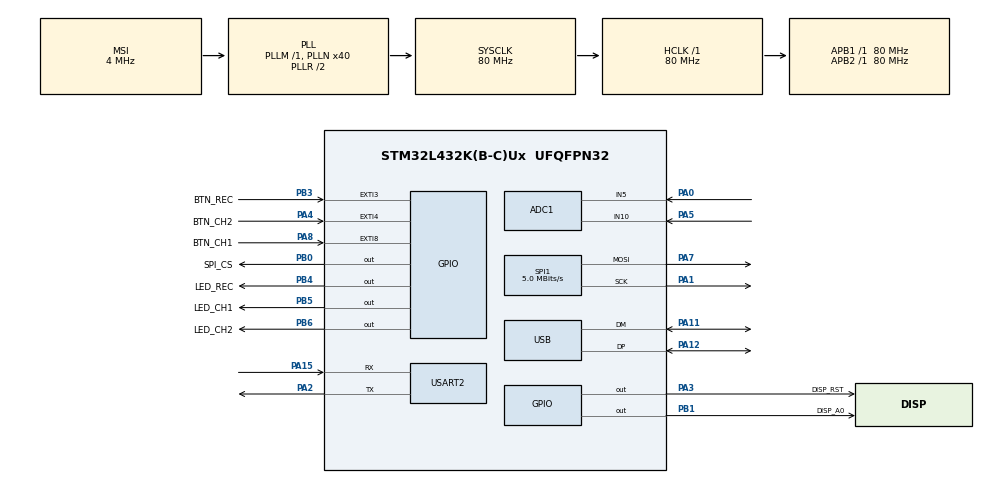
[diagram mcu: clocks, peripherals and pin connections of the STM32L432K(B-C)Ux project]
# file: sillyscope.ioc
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ADC1.Channel-0\#ChannelRegularConversion=ADC_CHANNEL_5
ADC1.Channel-1\#ChannelRegularConversion=ADC_CHANNEL_10
ADC1.ClockPrescaler=ADC_CLOCK_ASYNC_DIV1
ADC1.ContinuousConvMode=ENABLE
ADC1.DMAContinuousRequests=ENABLE
ADC1.NbrOfConversion=2
ADC1.NbrOfConversionFlag=1
ADC1.OffsetNumber-0\#ChannelRegularConversion=ADC_OFFSET_NONE
ADC1.OffsetNumber-1\#ChannelRegularConversion=ADC_OFFSET_NONE
ADC1.Overrun=ADC_OVR_DATA_OVERWRITTEN
ADC1.Rank-0\#ChannelRegularConversion=1
ADC1.Rank-1\#ChannelRegularConversion=2
ADC1.SamplingTime-0\#ChannelRegularConversion=ADC_SAMPLETIME_2CYCLES_5
ADC1.SamplingTime-1\#ChannelRegularConversion=ADC_SAMPLETIME_2CYCLES_5
ADC1.master=1
Dma.ADC1.0.Direction=DMA_PERIPH_TO_MEMORY
Dma.ADC1.0.Instance=DMA1_Channel1
Dma.ADC1.0.MemDataAlignment=DMA_MDATAALIGN_HALFWORD
Dma.ADC1.0.MemInc=DMA_MINC_ENABLE
Dma.ADC1.0.Mode=DMA_CIRCULAR
Dma.ADC1.0.PeriphDataAlignment=DMA_PDATAALIGN_HALFWORD
Dma.ADC1.0.PeriphInc=DMA_PINC_DISABLE
Dma.ADC1.0.Priority=DMA_PRIORITY_LOW
Dma.Request0=ADC1
Mcu.Family=STM32L4
Mcu.Name=STM32L432K(B-C)Ux
Mcu.Package=UFQFPN32
NVIC.EXTI3_IRQn=true\:1\:0\:true\:false\:true\:true\:true\:true
NVIC.EXTI4_IRQn=true\:1\:0\:true\:false\:true\:true\:true\:true
NVIC.EXTI9_5_IRQn=true\:1\:0\:true\:false\:true\:true\:true\:true
NVIC.PriorityGroup=NVIC_PRIORITYGROUP_4
NVIC.TIM1_UP_TIM16_IRQn=true\:3\:0\:true\:false\:true\:true\:true\:true
NVIC.TIM2_IRQn=true\:15\:0\:true\:false\:true\:true\:true\:true
NVIC.TimeBase=TIM2_IRQn
NVIC.TimeBaseIP=TIM2
NVIC.USART2_IRQn=true\:2\:0\:true\:false\:true\:true\:true\:true
NVIC.USB_IRQn=true\:2\:0\:true\:false\:true\:false\:true\:true
PA0.Signal=ADCx_IN5
PA1.Mode=TX_Only_Simplex_Unidirect_Master
PA1.Signal=SPI1_SCK
PA11.Mode=Device
PA11.Signal=USB_DM
PA12.Mode=Device
PA12.Signal=USB_DP
PA13\ (JTMS-SWDIO).Mode=Serial_Wire
PA13\ (JTMS-SWDIO).Signal=SYS_JTMS-SWDIO
PA14\ (JTCK-SWCLK).Mode=Serial_Wire
PA14\ (JTCK-SWCLK).Signal=SYS_JTCK-SWCLK
PA15\ (JTDI).Mode=Asynchronous
PA15\ (JTDI).Signal=USART2_RX
PA2.Mode=Asynchronous
PA2.Signal=USART2_TX
PA3.GPIO_Label=DISP_RST
PA3.GPIO_PuPd=GPIO_PULLUP
PA3.PinState=GPIO_PIN_RESET
PA3.Signal=GPIO_Output
PA4.GPIO_Label=BTN_CH2
PA4.GPIO_ModeDefaultEXTI=GPIO_MODE_IT_FALLING
PA4.Signal=GPXTI4
PA5.Signal=ADCx_IN10
PA7.Mode=TX_Only_Simplex_Unidirect_Master
PA7.Signal=SPI1_MOSI
PA8.GPIO_Label=BTN_CH1
PA8.GPIO_ModeDefaultEXTI=GPIO_MODE_IT_FALLING
PA8.Signal=GPXTI8
PB0.GPIO_Label=SPI_CS
PB0.GPIO_PuPd=GPIO_PULLUP
PB0.Signal=GPIO_Output
PB1.GPIO_Label=DISP_A0
PB1.GPIO_PuPd=GPIO_PULLUP
PB1.Signal=GPIO_Output
PB3\ (JTDO-TRACESWO).GPIO_Label=BTN_REC
PB3\ (JTDO-TRACESWO).GPIO_ModeDefaultEXTI=GPIO_MODE_IT_FALLING
PB3\ (JTDO-TRACESWO).Signal=GPXTI3
PB4\ (NJTRST).GPIO_Label=LED_REC
PB4\ (NJTRST).GPIO_PuPd=GPIO_PULLDOWN
PB4\ (NJTRST).Signal=GPIO_Output
PB5.GPIO_Label=LED_CH1
PB5.GPIO_PuPd=GPIO_PULLDOWN
PB5.Signal=GPIO_Output
PB6.GPIO_FM6=__NULL
PB6.GPIO_Label=LED_CH2
PB6.GPIO_PuPd=GPIO_PULLDOWN
PB6.Signal=GPIO_Output
ProjectManager.HeapSize=0x200
ProjectManager.StackSize=0x400
ProjectManager.TargetToolchain=Makefile
RCC.ADCFreq_Value=48000000
RCC.AHBFreq_Value=80000000
RCC.APB1Freq_Value=80000000
RCC.APB1TimFreq_Value=80000000
RCC.APB2Freq_Value=80000000
RCC.APB2TimFreq_Value=80000000
RCC.CortexFreq_Value=80000000
RCC.HCLKFreq_Value=80000000
RCC.HSE_VALUE=8000000
RCC.HSI48_VALUE=48000000
RCC.HSI_VALUE=16000000
RCC.LSE_VALUE=32768
RCC.MSI_VALUE=4000000
RCC.PLLN=40
RCC.PLLSAI1N=24
RCC.SYSCLKFreq_VALUE=80000000
RCC.SYSCLKSource=RCC_SYSCLKSOURCE_PLLCLK
RCC.USBFreq_Value=48000000
RCC.VCOOutputFreq_Value=160000000
SH.ADCx_IN10.0=ADC1_IN10,IN10-Single-Ended
SH.ADCx_IN5.0=ADC1_IN5,IN5-Single-Ended
SPI1.BaudRatePrescaler=SPI_BAUDRATEPRESCALER_16
SPI1.CLKPhase=SPI_PHASE_1EDGE
SPI1.CLKPolarity=SPI_POLARITY_LOW
SPI1.CalculateBaudRate=5.0 MBits/s
SPI1.DataSize=SPI_DATASIZE_8BIT
SPI1.Direction=SPI_DIRECTION_2LINES
SPI1.FirstBit=SPI_FIRSTBIT_MSB
SPI1.Mode=SPI_MODE_MASTER
SPI1.VirtualType=VM_MASTER
TIM16.AutoReloadPreload=TIM_AUTORELOAD_PRELOAD_DISABLE
TIM16.Channel=TIM_CHANNEL_1
TIM16.OCMode_1=TIM_OCMODE_TOGGLE
TIM16.Period=9599
USART2.VirtualMode-Asynchronous=VM_ASYNC
USB_DEVICE.CLASS_NAME_FS=CDC
USB_DEVICE.MANUFACTURER_STRING=hoff.industries
USB_DEVICE.PRODUCT_STRING_CDC_FS=hoff.industries smallScope
USB_DEVICE.VirtualMode=Cdc
USB_DEVICE.VirtualModeFS=Cdc_FS
VP_CRC_VS_CRC.Mode=CRC_Activate
VP_SYS_VS_tim2.Mode=TIM2
VP_TIM16_VS_ClockSourceINT.Mode=Enable_Timer
VP_TIM16_VS_no_output1.Mode=Output Compare1 No Output
VP_USB_DEVICE_VS_USB_DEVICE_CDC_FS.Mode=CDC_FS
board=custom

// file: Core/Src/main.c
/* USER CODE BEGIN Header */
/**
  ******************************************************************************
  * @file           : main.c
  * @brief          : Main program body
  ******************************************************************************
  * @attention
  *
  * Copyright (c) 2025 STMicroelectronics.
  * All rights reserved.
  *
  * This software is licensed under terms that can be found in the LICENSE file
  * in the root directory of this software component.
  * If no LICENSE file comes with this software, it is provided AS-IS.
  *
  ******************************************************************************
  */
/* USER CODE END Header */
#include "main.h"
#include "usb_device.h"

/* USER CODE BEGIN Includes */
#include <stdint.h>
#include <stdbool.h>

#include "sillyscope_app.h"

#include "channel_mgmt.h"
#include "channel_data.h"
/* USER CODE END Includes */

ADC_HandleTypeDef hadc1;
DMA_HandleTypeDef hdma_adc1;

CRC_HandleTypeDef hcrc;

SPI_HandleTypeDef hspi1;

TIM_HandleTypeDef htim16;

UART_HandleTypeDef huart2;

void SystemClock_Config(void);
void PeriphCommonClock_Config(void);
static void MX_GPIO_Init(void);
static void MX_DMA_Init(void);
static void MX_ADC1_Init(void);
static void MX_SPI1_Init(void);
static void MX_CRC_Init(void);
static void MX_USART2_UART_Init(void);
static void MX_TIM16_Init(void);

int main(void)
{

  /* USER CODE BEGIN 1 */

  ch_data_adc = &hadc1;
  ch_data_crc = &hcrc;
  ch_data_uart = &huart2;
  disp_spi = &hspi1;

  /* USER CODE END 1 */

  /* MCU Configuration--------------------------------------------------------*/

  /* Reset of all peripherals, Initializes the Flash interface and the Systick. */
  HAL_Init();

  /* Configure the system clock */
  SystemClock_Config();

  /* Configure the peripherals common clocks */
  PeriphCommonClock_Config();

  /* Initialize all configured peripherals */
  MX_GPIO_Init();
  MX_DMA_Init();
  MX_ADC1_Init();
  MX_SPI1_Init();
  MX_CRC_Init();
  MX_USART2_UART_Init();
  MX_USB_DEVICE_Init();
  MX_TIM16_Init();

  /* Infinite loop */
  /* USER CODE BEGIN WHILE */

  sillyscope_app();
  // NOTE: never reached

  while (1)
  {
    /* USER CODE END WHILE */

  }
}

void SystemClock_Config(void)
{
  RCC_OscInitTypeDef RCC_OscInitStruct = {0};
  RCC_ClkInitTypeDef RCC_ClkInitStruct = {0};

  /** Configure the main internal regulator output voltage
  */
  if (HAL_PWREx_ControlVoltageScaling(PWR_REGULATOR_VOLTAGE_SCALE1) != HAL_OK)
  {
    Error_Handler();
  }

  /** Initializes the RCC Oscillators according to the specified parameters
  * in the RCC_OscInitTypeDef structure.
  */
  RCC_OscInitStruct.OscillatorType = RCC_OSCILLATORTYPE_MSI;
  RCC_OscInitStruct.MSIState = RCC_MSI_ON;
  RCC_OscInitStruct.MSICalibrationValue = 0;
  RCC_OscInitStruct.MSIClockRange = RCC_MSIRANGE_6;
  RCC_OscInitStruct.PLL.PLLState = RCC_PLL_ON;
  RCC_OscInitStruct.PLL.PLLSource = RCC_PLLSOURCE_MSI;
  RCC_OscInitStruct.PLL.PLLM = 1;
  RCC_OscInitStruct.PLL.PLLN = 40;
  RCC_OscInitStruct.PLL.PLLP = RCC_PLLP_DIV7;
  RCC_OscInitStruct.PLL.PLLQ = RCC_PLLQ_DIV2;
  RCC_OscInitStruct.PLL.PLLR = RCC_PLLR_DIV2;
  if (HAL_RCC_OscConfig(&RCC_OscInitStruct) != HAL_OK)
  {
    Error_Handler();
  }

  /** Initializes the CPU, AHB and APB buses clocks
  */
  RCC_ClkInitStruct.ClockType = RCC_CLOCKTYPE_HCLK|RCC_CLOCKTYPE_SYSCLK
                              |RCC_CLOCKTYPE_PCLK1|RCC_CLOCKTYPE_PCLK2;
  RCC_ClkInitStruct.SYSCLKSource = RCC_SYSCLKSOURCE_PLLCLK;
  RCC_ClkInitStruct.AHBCLKDivider = RCC_SYSCLK_DIV1;
  RCC_ClkInitStruct.APB1CLKDivider = RCC_HCLK_DIV1;
  RCC_ClkInitStruct.APB2CLKDivider = RCC_HCLK_DIV1;

  if (HAL_RCC_ClockConfig(&RCC_ClkInitStruct, FLASH_LATENCY_4) != HAL_OK)
  {
    Error_Handler();
  }
}

void PeriphCommonClock_Config(void)
{
  RCC_PeriphCLKInitTypeDef PeriphClkInit = {0};

  /** Initializes the peripherals clock
  */
  PeriphClkInit.PeriphClockSelection = RCC_PERIPHCLK_USB|RCC_PERIPHCLK_ADC;
  PeriphClkInit.AdcClockSelection = RCC_ADCCLKSOURCE_PLLSAI1;
  PeriphClkInit.UsbClockSelection = RCC_USBCLKSOURCE_PLLSAI1;
  PeriphClkInit.PLLSAI1.PLLSAI1Source = RCC_PLLSOURCE_MSI;
  PeriphClkInit.PLLSAI1.PLLSAI1M = 1;
  PeriphClkInit.PLLSAI1.PLLSAI1N = 24;
  PeriphClkInit.PLLSAI1.PLLSAI1P = RCC_PLLP_DIV7;
  PeriphClkInit.PLLSAI1.PLLSAI1Q = RCC_PLLQ_DIV2;
  PeriphClkInit.PLLSAI1.PLLSAI1R = RCC_PLLR_DIV2;
  PeriphClkInit.PLLSAI1.PLLSAI1ClockOut = RCC_PLLSAI1_48M2CLK|RCC_PLLSAI1_ADC1CLK;
  if (HAL_RCCEx_PeriphCLKConfig(&PeriphClkInit) != HAL_OK)
  {
    Error_Handler();
  }
}

static void MX_ADC1_Init(void)
{

  ADC_ChannelConfTypeDef sConfig = {0};

  /** Common config
  */
  hadc1.Instance = ADC1;
  hadc1.Init.ClockPrescaler = ADC_CLOCK_ASYNC_DIV1;
  hadc1.Init.Resolution = ADC_RESOLUTION_12B;
  hadc1.Init.DataAlign = ADC_DATAALIGN_RIGHT;
  hadc1.Init.ScanConvMode = ADC_SCAN_ENABLE;
  hadc1.Init.EOCSelection = ADC_EOC_SINGLE_CONV;
  hadc1.Init.LowPowerAutoWait = DISABLE;
  hadc1.Init.ContinuousConvMode = ENABLE;
  hadc1.Init.NbrOfConversion = 2;
  hadc1.Init.DiscontinuousConvMode = DISABLE;
  hadc1.Init.ExternalTrigConv = ADC_SOFTWARE_START;
  hadc1.Init.ExternalTrigConvEdge = ADC_EXTERNALTRIGCONVEDGE_NONE;
  hadc1.Init.DMAContinuousRequests = ENABLE;
  hadc1.Init.Overrun = ADC_OVR_DATA_OVERWRITTEN;
  hadc1.Init.OversamplingMode = DISABLE;
  if (HAL_ADC_Init(&hadc1) != HAL_OK)
  {
    Error_Handler();
  }

  /** Configure Regular Channel
  */
  sConfig.Channel = ADC_CHANNEL_5;
  sConfig.Rank = ADC_REGULAR_RANK_1;
  sConfig.SamplingTime = ADC_SAMPLETIME_2CYCLES_5;
  sConfig.SingleDiff = ADC_SINGLE_ENDED;
  sConfig.OffsetNumber = ADC_OFFSET_NONE;
  sConfig.Offset = 0;
  if (HAL_ADC_ConfigChannel(&hadc1, &sConfig) != HAL_OK)
  {
    Error_Handler();
  }

  /** Configure Regular Channel
  */
  sConfig.Channel = ADC_CHANNEL_10;
  sConfig.Rank = ADC_REGULAR_RANK_2;
  if (HAL_ADC_ConfigChannel(&hadc1, &sConfig) != HAL_OK)
  {
    Error_Handler();
  }

}

static void MX_CRC_Init(void)
{

  hcrc.Instance = CRC;
  hcrc.Init.DefaultPolynomialUse = DEFAULT_POLYNOMIAL_ENABLE;
  hcrc.Init.DefaultInitValueUse = DEFAULT_INIT_VALUE_ENABLE;
  hcrc.Init.InputDataInversionMode = CRC_INPUTDATA_INVERSION_NONE;
  hcrc.Init.OutputDataInversionMode = CRC_OUTPUTDATA_INVERSION_DISABLE;
  hcrc.InputDataFormat = CRC_INPUTDATA_FORMAT_BYTES;
  if (HAL_CRC_Init(&hcrc) != HAL_OK)
  {
    Error_Handler();
  }

}

static void MX_SPI1_Init(void)
{

  /* SPI1 parameter configuration*/
  hspi1.Instance = SPI1;
  hspi1.Init.Mode = SPI_MODE_MASTER;
  hspi1.Init.Direction = SPI_DIRECTION_2LINES;
  hspi1.Init.DataSize = SPI_DATASIZE_8BIT;
  hspi1.Init.CLKPolarity = SPI_POLARITY_LOW;
  hspi1.Init.CLKPhase = SPI_PHASE_1EDGE;
  hspi1.Init.NSS = SPI_NSS_SOFT;
  hspi1.Init.BaudRatePrescaler = SPI_BAUDRATEPRESCALER_16;
  hspi1.Init.FirstBit = SPI_FIRSTBIT_MSB;
  hspi1.Init.TIMode = SPI_TIMODE_DISABLE;
  hspi1.Init.CRCCalculation = SPI_CRCCALCULATION_DISABLE;
  hspi1.Init.CRCPolynomial = 7;
  hspi1.Init.CRCLength = SPI_CRC_LENGTH_DATASIZE;
  hspi1.Init.NSSPMode = SPI_NSS_PULSE_ENABLE;
  if (HAL_SPI_Init(&hspi1) != HAL_OK)
  {
    Error_Handler();
  }

}

static void MX_TIM16_Init(void)
{

  TIM_OC_InitTypeDef sConfigOC = {0};
  TIM_BreakDeadTimeConfigTypeDef sBreakDeadTimeConfig = {0};

  htim16.Instance = TIM16;
  htim16.Init.Prescaler = 0;
  htim16.Init.CounterMode = TIM_COUNTERMODE_UP;
  htim16.Init.Period = 9599;
  htim16.Init.ClockDivision = TIM_CLOCKDIVISION_DIV1;
  htim16.Init.RepetitionCounter = 0;
  htim16.Init.AutoReloadPreload = TIM_AUTORELOAD_PRELOAD_DISABLE;
  if (HAL_TIM_Base_Init(&htim16) != HAL_OK)
  {
    Error_Handler();
  }
  if (HAL_TIM_OC_Init(&htim16) != HAL_OK)
  {
    Error_Handler();
  }
  sConfigOC.OCMode = TIM_OCMODE_TOGGLE;
  sConfigOC.Pulse = 0;
  sConfigOC.OCPolarity = TIM_OCPOLARITY_HIGH;
  sConfigOC.OCNPolarity = TIM_OCNPOLARITY_HIGH;
  sConfigOC.OCFastMode = TIM_OCFAST_DISABLE;
  sConfigOC.OCIdleState = TIM_OCIDLESTATE_RESET;
  sConfigOC.OCNIdleState = TIM_OCNIDLESTATE_RESET;
  if (HAL_TIM_OC_ConfigChannel(&htim16, &sConfigOC, TIM_CHANNEL_1) != HAL_OK)
  {
    Error_Handler();
  }
  sBreakDeadTimeConfig.OffStateRunMode = TIM_OSSR_DISABLE;
  sBreakDeadTimeConfig.OffStateIDLEMode = TIM_OSSI_DISABLE;
  sBreakDeadTimeConfig.LockLevel = TIM_LOCKLEVEL_OFF;
  sBreakDeadTimeConfig.DeadTime = 0;
  sBreakDeadTimeConfig.BreakState = TIM_BREAK_DISABLE;
  sBreakDeadTimeConfig.BreakPolarity = TIM_BREAKPOLARITY_HIGH;
  sBreakDeadTimeConfig.AutomaticOutput = TIM_AUTOMATICOUTPUT_DISABLE;
  if (HAL_TIMEx_ConfigBreakDeadTime(&htim16, &sBreakDeadTimeConfig) != HAL_OK)
  {
    Error_Handler();
  }
  /* USER CODE BEGIN TIM16_Init 2 */

  HAL_TIM_Base_Start_IT(&htim16);

  /* USER CODE END TIM16_Init 2 */

}

static void MX_USART2_UART_Init(void)
{

  huart2.Instance = USART2;
  huart2.Init.BaudRate = 115200;
  huart2.Init.WordLength = UART_WORDLENGTH_8B;
  huart2.Init.StopBits = UART_STOPBITS_1;
  huart2.Init.Parity = UART_PARITY_NONE;
  huart2.Init.Mode = UART_MODE_TX_RX;
  huart2.Init.HwFlowCtl = UART_HWCONTROL_NONE;
  huart2.Init.OverSampling = UART_OVERSAMPLING_16;
  huart2.Init.OneBitSampling = UART_ONE_BIT_SAMPLE_DISABLE;
  huart2.AdvancedInit.AdvFeatureInit = UART_ADVFEATURE_NO_INIT;
  if (HAL_UART_Init(&huart2) != HAL_OK)
  {
    Error_Handler();
  }

}

static void MX_DMA_Init(void)
{

  /* DMA controller clock enable */
  __HAL_RCC_DMA1_CLK_ENABLE();

}

static void MX_GPIO_Init(void)
{
  GPIO_InitTypeDef GPIO_InitStruct = {0};

  /* GPIO Ports Clock Enable */
  __HAL_RCC_GPIOA_CLK_ENABLE();
  __HAL_RCC_GPIOB_CLK_ENABLE();

  /*Configure GPIO pin Output Level */
  HAL_GPIO_WritePin(DISP_RST_GPIO_Port, DISP_RST_Pin, GPIO_PIN_RESET);

  /*Configure GPIO pin Output Level */
  HAL_GPIO_WritePin(GPIOB, SPI_CS_Pin|DISP_A0_Pin|LED_REC_Pin|LED_CH1_Pin
                          |LED_CH2_Pin, GPIO_PIN_RESET);

  /*Configure GPIO pin : DISP_RST_Pin */
  GPIO_InitStruct.Pin = DISP_RST_Pin;
  GPIO_InitStruct.Mode = GPIO_MODE_OUTPUT_PP;
  GPIO_InitStruct.Pull = GPIO_PULLUP;
  GPIO_InitStruct.Speed = GPIO_SPEED_FREQ_LOW;
  HAL_GPIO_Init(DISP_RST_GPIO_Port, &GPIO_InitStruct);

  /*Configure GPIO pins : BTN_CH2_Pin BTN_CH1_Pin */
  GPIO_InitStruct.Pin = BTN_CH2_Pin|BTN_CH1_Pin;
  GPIO_InitStruct.Mode = GPIO_MODE_IT_FALLING;
  GPIO_InitStruct.Pull = GPIO_NOPULL;
  HAL_GPIO_Init(GPIOA, &GPIO_InitStruct);

  /*Configure GPIO pins : SPI_CS_Pin DISP_A0_Pin */
  GPIO_InitStruct.Pin = SPI_CS_Pin|DISP_A0_Pin;
  GPIO_InitStruct.Mode = GPIO_MODE_OUTPUT_PP;
  GPIO_InitStruct.Pull = GPIO_PULLUP;
  GPIO_InitStruct.Speed = GPIO_SPEED_FREQ_LOW;
  HAL_GPIO_Init(GPIOB, &GPIO_InitStruct);

  /*Configure GPIO pin : BTN_REC_Pin */
  GPIO_InitStruct.Pin = BTN_REC_Pin;
  GPIO_InitStruct.Mode = GPIO_MODE_IT_FALLING;
  GPIO_InitStruct.Pull = GPIO_NOPULL;
  HAL_GPIO_Init(BTN_REC_GPIO_Port, &GPIO_InitStruct);

  /*Configure GPIO pins : LED_REC_Pin LED_CH1_Pin LED_CH2_Pin */
  GPIO_InitStruct.Pin = LED_REC_Pin|LED_CH1_Pin|LED_CH2_Pin;
  GPIO_InitStruct.Mode = GPIO_MODE_OUTPUT_PP;
  GPIO_InitStruct.Pull = GPIO_PULLDOWN;
  GPIO_InitStruct.Speed = GPIO_SPEED_FREQ_LOW;
  HAL_GPIO_Init(GPIOB, &GPIO_InitStruct);

  /* EXTI interrupt init*/
  HAL_NVIC_SetPriority(EXTI3_IRQn, 1, 0);
  HAL_NVIC_EnableIRQ(EXTI3_IRQn);

  HAL_NVIC_SetPriority(EXTI4_IRQn, 1, 0);
  HAL_NVIC_EnableIRQ(EXTI4_IRQn);

  HAL_NVIC_SetPriority(EXTI9_5_IRQn, 1, 0);
  HAL_NVIC_EnableIRQ(EXTI9_5_IRQn);

}

/* USER CODE BEGIN 4 */

void HAL_GPIO_EXTI_Callback(uint16_t GPIO_Pin) {
  switch (GPIO_Pin) {
    case BTN_CH1_Pin: ch_mgmt_button1_callback(); break;
    case BTN_CH2_Pin: ch_mgmt_button2_callback(); break;
    case BTN_REC_Pin: rec_button_callback(); break;
    default: break;
  }
}

/* USER CODE END 4 */

void HAL_TIM_PeriodElapsedCallback(TIM_HandleTypeDef *htim)
{
  if (htim->Instance == TIM2)
  {
    HAL_IncTick();
  }
  /* USER CODE BEGIN Callback 1 */
  if (htim->Instance == TIM16) {
    ch_data_timer_update_callback();
  }
  /* USER CODE END Callback 1 */
}

void Error_Handler(void)
{
  __disable_irq();
  while (1)
  {
  }
}
